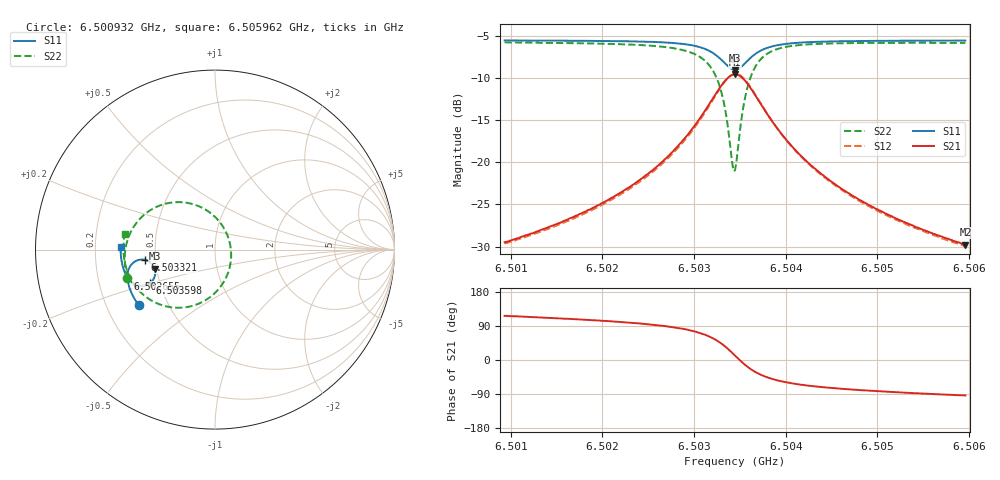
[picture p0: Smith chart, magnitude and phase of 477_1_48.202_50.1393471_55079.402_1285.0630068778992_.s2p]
#  HZ  S  RI  R  50.00
! Rohde & Schwarz Vector Network Analyzer
! Rohde-Schwarz,ZNB20-2Port,1311601062101988,3.16
! Created: UTC 3/20/2024, 11:57:23 AM
! freq[Hz]  re:S11  im:S11  re:S21  im:S21  re:S12  im:S12  re:S22  im:S22
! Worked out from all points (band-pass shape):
!   401 points, 6.500932 GHz to 6.505962 GHz, reference 50 ohm
!   highest |S21| = -9.60 dB at 6.503447 GHz (marker M1); lowest = -29.8 dB at 6.505962 GHz (marker M2)
!   |S21| within 3 dB of the highest: 6.503196 GHz to 6.503699 GHz (503.2 kHz wide, 0.00774 % of centre)
!   lowest |S11| = -9.1 dB at 6.503447 GHz (marker M3), VSWR 2.09, Z = 24.4 - j5.91 ohm
!   |S11| at or under -10 dB: nowhere
!   |S22| runs from -21.1 to -5.8 dB; largest |S21 - S12| = 0.011
!   S11 on the Smith chart (normalised r, x): 6.500932 GHz: 0.34, -0.29; 6.502655 GHz: 0.33, -0.14; 6.503321 GHz: 0.44, -0.06; 6.503598 GHz: 0.44, -0.20; 6.505962 GHz: 0.31, +0.01
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6.5009319e9  -0.4255 -0.3106  -0.0149 0.03  -0.0132 0.0301  -0.4889 -0.1569
6.5017745e9  -0.4619 -0.2486  -0.0143 0.0478  -0.0119 0.0472  -0.5026 -0.0677
6.5022146e9  -0.4775 -0.2099  -0.0117 0.0657  -0.00871 0.0648  -0.5002 -0.00589
6.502617e9  -0.4873 -0.1657  -0.00243 0.0965  0.00132 0.0943  -0.4802 0.0735
6.5026547e9  -0.4877 -0.1608  -0.000574 0.1007  0.00301 0.0984  -0.4765 0.0829
6.5029314e9  -0.4839 -0.1178  0.026 0.1432  0.0297 0.139  -0.4211 0.1689
6.50312e9  -0.4624 -0.0797  0.0801 0.1856  0.0826 0.1796  -0.3176 0.2416
6.5032332e9  -0.4297 -0.0589  0.1493 0.2033  0.1502 0.1972  -0.193 0.2643
6.5033213e9  -0.3891 -0.057  0.2293 0.1873  0.2295 0.1824  -0.0551 0.2242
6.503359e9  -0.3697 -0.0647  0.2657 0.1639  0.2667 0.16  0.0053 0.1773
6.5034219e9  -0.3426 -0.0916  0.3141 0.1  0.3168 0.0954  0.0782 0.0536
6.503447e9  -0.3361 -0.1063  0.3243 0.0674  0.3278 0.062  0.0893 -0.00702
6.5034722e9  -0.3331 -0.1222  0.3282 0.0335  0.3318 0.027  0.0876 -0.0688
6.503535e9  -0.3402 -0.1597  0.3098 -0.045  0.3125 -0.0549  0.0318 -0.2055
6.5035979e9  -0.3615 -0.1861  0.2667 -0.0997  0.2659 -0.1109  -0.0655 -0.2892
6.5036985e9  -0.4014 -0.2016  0.1913 -0.136  0.1861 -0.1457  -0.217 -0.3238
6.503862e9  -0.448 -0.192  0.109 -0.1329  0.1021 -0.1381  -0.3653 -0.277
6.5040381e9  -0.4755 -0.1707  0.0642 -0.1127  0.058 -0.115  -0.4377 -0.2116
6.5042896e9  -0.4963 -0.1407  0.0341 -0.0882  0.0294 -0.0887  -0.4812 -0.1393
6.5046543e9  -0.5116 -0.1024  0.0153 -0.0654  0.0121 -0.065  -0.5034 -0.0664
6.5051321e9  -0.5214 -0.0582  0.00494 -0.0482  0.00279 -0.0474  -0.5102 0.00146
6.5059621e9  -0.5263 0.0121  -0.00213 -0.0324  -0.00337 -0.0316  -0.5023 0.0892
